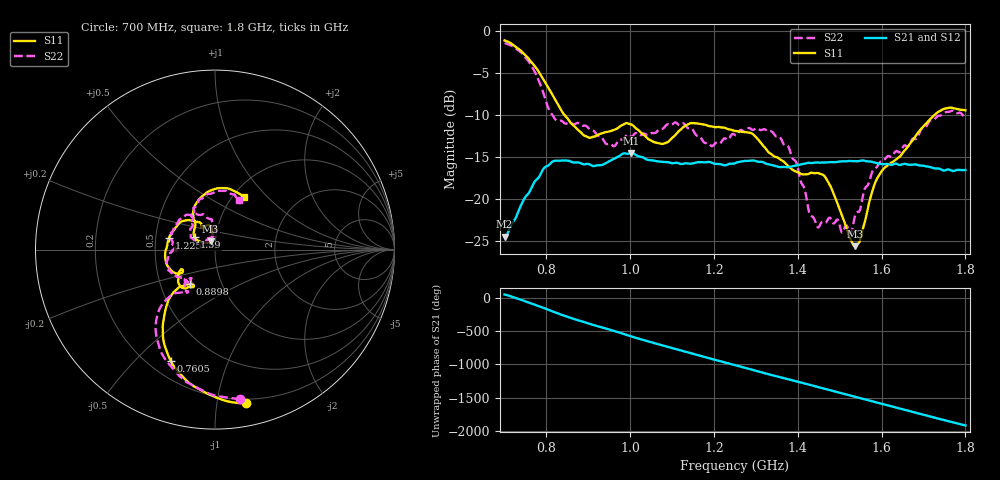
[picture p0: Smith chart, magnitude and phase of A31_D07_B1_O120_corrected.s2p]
! Created with skrf 1.9.0 (http://scikit-rf.org).
# Hz S RI R 50.0
!freq ReS11 ImS11 ReS21 ImS21 ReS12 ImS12 ReS22 ImS22
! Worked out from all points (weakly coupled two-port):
!   1601 points, 700 MHz to 1.8 GHz, reference 50 ohm
!   highest |S21| = -14.55 dB at 1.002 GHz (marker M1); lowest = -24.5 dB at 700 MHz (marker M2)
!   lowest |S11| = -25.6 dB at 1.536 GHz (marker M3), VSWR 1.11, Z = 47.4 + j4.37 ohm
!   |S11| at or under -10 dB: 842.4 MHz to 1.727 GHz (884.5 MHz wide, 68.9 % of centre)
!   |S22| runs from -24.2 to -1.5 dB; largest |S21 - S12| = 0.0034
!   S11 on the Smith chart (normalised r, x): 700 MHz: 0.17, -1.21; 760.5 MHz: 0.29, -0.64; 889.8 MHz: 0.71, -0.29; 1.225 GHz: 0.59, +0.08; 1.59 GHz: 0.79, +0.11; 1.8 GHz: 1.12, +0.75
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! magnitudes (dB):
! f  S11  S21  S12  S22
! 700 MHz  -1.2  -24.5  -24.3  -1.5
! 760.5 MHz  -3.5  -19.1  -19.0  -3.9
! 819.6 MHz  -8.1  -15.5  -15.6  -10.5
! 883.6 MHz  -12.2  -15.8  -15.7  -11.3
! 889.8 MHz  -12.5  -15.9  -15.8  -11.3
! 959.2 MHz  -11.8  -15.3  -15.3  -13.7
! 1.002 GHz  -11.2  -14.5  -14.7  -12.6
! 1.067 GHz  -13.4  -15.6  -15.5  -11.8
! 1.144 GHz  -11.0  -15.8  -15.8  -11.6
! 1.193 GHz  -11.4  -15.7  -15.7  -13.7
! 1.225 GHz  -11.5  -16.0  -16.0  -12.8
! 1.25 GHz  -11.9  -15.8  -15.7  -12.4
! 1.357 GHz  -15.3  -16.2  -16.2  -12.7
! 1.396 GHz  -16.8  -16.0  -16.0  -15.6
! 1.434 GHz  -16.9  -15.7  -15.7  -22.1
! 1.471 GHz  -17.9  -15.7  -15.7  -22.5
! 1.525 GHz  -24.8  -15.5  -15.5  -24.1
! 1.536 GHz  -25.6  -15.5  -15.5  -22.1
! 1.59 GHz  -17.5  -15.8  -15.8  -16.1
! 1.617 GHz  -15.9  -15.9  -15.9  -14.9
! 1.734 GHz  -9.7  -16.4  -16.4  -10.2
! 1.8 GHz  -9.5  -16.6  -16.6  -10.2
